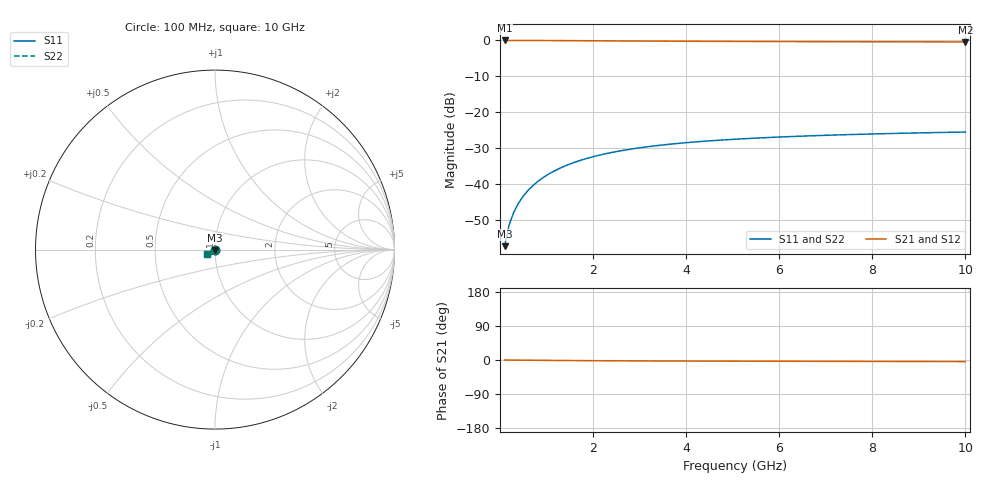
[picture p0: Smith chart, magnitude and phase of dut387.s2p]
! Touchstone file exported from HFSS 2024.1.0
!  File:  C:/UserFiles/LocalFiles/RDL_TSV_Batchsim/temp_TSV1_387_1779623471.aedt
!  Generated:  07:56:12 PM May 24, 2026
!  Design:  TSV1
!  Project:  temp_TSV1_387_1779623471
!  Setup:  Setup1
!  Solution:  Sweep
! Variables:
!  dtsv = 13.44um
!  hbump = 3um
!  htsv = 61.69um
!  lrdl = 252.1521522um
!  p = 40
!  p1 = 41.14um
!  t = 500um
!  trdl = 3um
!  wrdl = 24.89489489um
# GHz S MA R 50.000000
! Terminal data exported
! Port[1] = TSV22_T1
! Port[2] = TSV22_T2
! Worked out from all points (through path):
!   100 points, 100 MHz to 10 GHz, reference 50 ohm
!   highest |S21| = 0.00 dB at 100 MHz (marker M1); lowest = -0.4 dB at 10 GHz (marker M2)
!   lowest |S11| = -57.4 dB at 100 MHz (marker M3), VSWR 1.00, Z = 50 - j0.134 ohm
!   |S11| at or under -10 dB: start of sweep to end of sweep
!   |S22| runs from -57.4 to -25.6 dB; largest |S21 - S12| = 4e-15
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0.1  0.001345 -88.1  0.9999 -0.1  0.9999 -0.1  0.001345 -88.1
! Gamma 0 0 0 0
! Port Impedance 50 0 50 0
0.2  0.002696 -91.4  0.9998 -0.2  0.9998 -0.2  0.002696 -91.4
0.3  0.004044 -93.4  0.9996 -0.3  0.9996 -0.3  0.004044 -93.4
0.4  0.005384 -95.1  0.9994 -0.4  0.9994 -0.4  0.005384 -95.1
0.5  0.006711 -96.6  0.9991 -0.5  0.9991 -0.5  0.006711 -96.6
0.6  0.008023 -98.1  0.9987 -0.6  0.9987 -0.6  0.008023 -98.1
0.7  0.009318 -99.6  0.9983 -0.7  0.9983 -0.7  0.009318 -99.6
0.8  0.01059 -101.0  0.9978 -0.8  0.9978 -0.8  0.01059 -101.0
0.9  0.01185 -102.4  0.9973 -0.9  0.9973 -0.9  0.01185 -102.4
1.1  0.01428 -105.0  0.9961 -1.1  0.9961 -1.1  0.01428 -105.0
1.4  0.01773 -108.8  0.994 -1.4  0.994 -1.4  0.01773 -108.8
1.6  0.01988 -111.2  0.9925 -1.5  0.9925 -1.5  0.01988 -111.2
1.8  0.02192 -113.5  0.991 -1.7  0.991 -1.7  0.02192 -113.5
2.1  0.02474 -116.7  0.9887 -1.8  0.9887 -1.8  0.02474 -116.7
2.5  0.02811 -120.6  0.9856 -2.1  0.9856 -2.1  0.02811 -120.6
2.9  0.03105 -124.0  0.9826 -2.3  0.9826 -2.3  0.03105 -124.0
3.4  0.03423 -127.8  0.979 -2.5  0.979 -2.5  0.03423 -127.8
4.2  0.03836 -132.7  0.974 -2.8  0.974 -2.8  0.03836 -132.7
5.1  0.04199 -137.1  0.9693 -3.1  0.9693 -3.1  0.04199 -137.1
6.7  0.04672 -142.8  0.9628 -3.5  0.9628 -3.5  0.04672 -142.8
8.4  0.05025 -147.2  0.9578 -3.9  0.9578 -3.9  0.05025 -147.2
10  0.05269 -150.3  0.9544 -4.2  0.9544 -4.2  0.05269 -150.3
